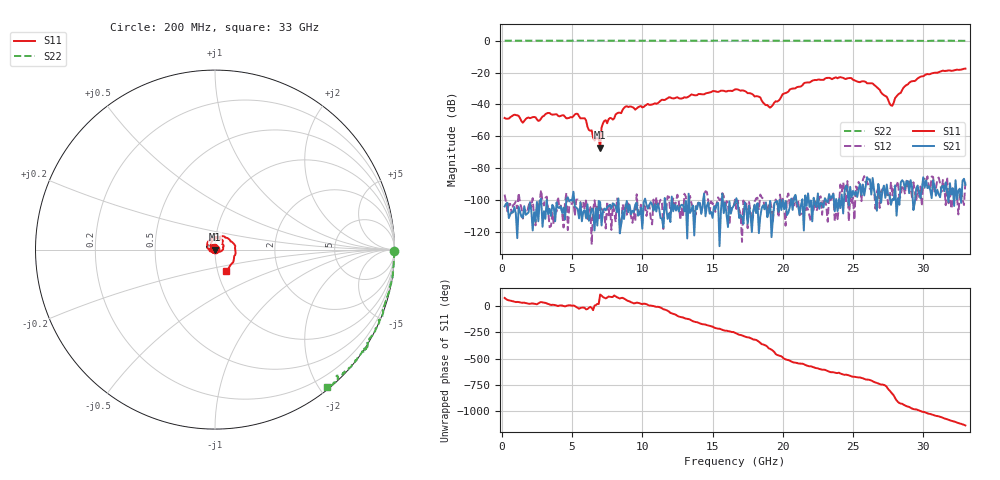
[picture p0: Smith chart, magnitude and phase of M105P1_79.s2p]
# GHZ S RI R 50
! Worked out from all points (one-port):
!   329 points, 200 MHz to 33 GHz, reference 50 ohm
!   lowest |S11| = -67.0 dB at 7 GHz (marker M1), VSWR 1.00, Z = 50 + j0.0405 ohm
!   |S11| at or under -10 dB: start of sweep to end of sweep
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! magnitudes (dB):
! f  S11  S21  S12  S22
! 200 MHz  -48.5  -103.9  -96.5  0.0
! 2.6 GHz  -50.4  -113.3  -106.2  0.0
! 3.3 GHz  -45.3  -108.9  -106.0  0.0
! 5.7 GHz  -48.7  -113.2  -104.4  0.0
! 6.4 GHz  -56.2  -105.3  -127.9  0.0
! 6.6 GHz  -62.6  -119.0  -100.1  0.0
! 6.9 GHz  -61.5  -100.5  -111.5  0.0
! 7 GHz  -67.0  -101.2  -102.6  0.0
! 7.1 GHz  -54.6  -115.9  -106.0  0.0
! 7.3 GHz  -50.3  -105.3  -108.7  0.0
! 8.9 GHz  -41.1  -100.5  -109.1  0.0
! 11.2 GHz  -38.5  -105.3  -102.0  -0.1
! 16.6 GHz  -30.6  -101.8  -99.7  0.0
! 18.3 GHz  -35.1  -120.6  -106.2  0.0
! 19.1 GHz  -42.0  -100.6  -100.7  0.0
! 20 GHz  -33.5  -99.8  -99.1  0.0
! 22.1 GHz  -25.1  -113.3  -106.3  0.0
! 24.1 GHz  -22.9  -105.0  -90.2  0.0
! 26.4 GHz  -26.9  -86.1  -92.2  0.0
! 27.6 GHz  -39.4  -97.1  -100.6  0.0
! 29.8 GHz  -22.6  -98.8  -91.5  -0.1
! 33 GHz  -17.6  -90.3  -88.3  -0.1
